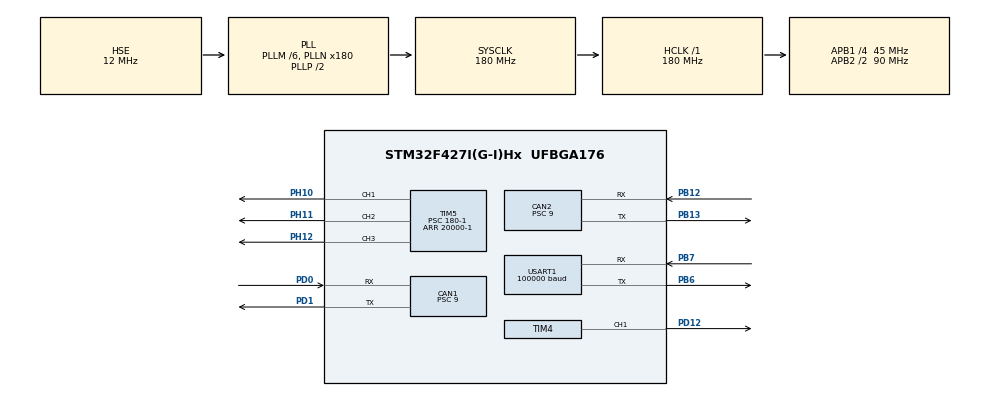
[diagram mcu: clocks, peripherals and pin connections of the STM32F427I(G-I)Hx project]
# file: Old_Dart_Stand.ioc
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CAN1.ABOM=ENABLE
CAN1.BS1=CAN_BS1_2TQ
CAN1.BS2=CAN_BS2_2TQ
CAN1.CalculateBaudRate=1000000
CAN1.CalculateTimeBit=1000
CAN1.CalculateTimeQuantum=200.0
CAN1.NART=ENABLE
CAN1.Prescaler=9
CAN2.ABOM=ENABLE
CAN2.BS1=CAN_BS1_2TQ
CAN2.BS2=CAN_BS2_2TQ
CAN2.CalculateBaudRate=1000000
CAN2.CalculateTimeBit=1000
CAN2.CalculateTimeQuantum=200.0
CAN2.NART=ENABLE
CAN2.Prescaler=9
Dma.Request0=USART1_RX
Dma.USART1_RX.0.Direction=DMA_PERIPH_TO_MEMORY
Dma.USART1_RX.0.FIFOMode=DMA_FIFOMODE_DISABLE
Dma.USART1_RX.0.Instance=DMA2_Stream2
Dma.USART1_RX.0.MemDataAlignment=DMA_MDATAALIGN_BYTE
Dma.USART1_RX.0.MemInc=DMA_MINC_ENABLE
Dma.USART1_RX.0.Mode=DMA_NORMAL
Dma.USART1_RX.0.PeriphDataAlignment=DMA_PDATAALIGN_BYTE
Dma.USART1_RX.0.PeriphInc=DMA_PINC_DISABLE
Dma.USART1_RX.0.Priority=DMA_PRIORITY_LOW
FREERTOS.Tasks01=defaultTask,24,128,StartDefaultTask,Default,NULL,Dynamic,NULL,NULL;DM_Motor_Task,24,128,DM_Motor_TaskStart,As weak,NULL,Dynamic,NULL,NULL;BJ_Task,24,128,Start_BJ_Task,As weak,NULL,Dynamic,NULL,NULL;Motor_return_t0,25,128,Start_Motor_return_t0,As weak,NULL,Dynamic,NULL,NULL;Windmill_4310,24,128,Windmill_4310_Start,As weak,NULL,Dynamic,NULL,NULL;Windmill_2006,25,128,Windmill_2006_Start,As weak,NULL,Dynamic,NULL,NULL
Mcu.Family=STM32F4
Mcu.Name=STM32F427I(G-I)Hx
Mcu.Package=UFBGA176
NVIC.CAN1_RX0_IRQn=true\:5\:0\:false\:false\:true\:true\:true\:true\:true
NVIC.CAN1_RX1_IRQn=true\:5\:0\:false\:false\:true\:true\:true\:true\:true
NVIC.CAN2_RX0_IRQn=true\:5\:0\:false\:false\:true\:true\:true\:true\:true
NVIC.CAN2_RX1_IRQn=true\:5\:0\:false\:false\:true\:true\:true\:true\:true
NVIC.DMA2_Stream2_IRQn=true\:5\:0\:false\:false\:true\:true\:false\:true\:true
NVIC.PriorityGroup=NVIC_PRIORITYGROUP_4
NVIC.TIM8_TRG_COM_TIM14_IRQn=true\:15\:0\:true\:false\:true\:false\:false\:true\:true
NVIC.TimeBase=TIM8_TRG_COM_TIM14_IRQn
NVIC.TimeBaseIP=TIM14
NVIC.USART1_IRQn=true\:5\:0\:false\:false\:true\:true\:true\:true\:true
PA13.Mode=Serial_Wire
PA13.Signal=SYS_JTMS-SWDIO
PA14.Mode=Serial_Wire
PA14.Signal=SYS_JTCK-SWCLK
PB12.Mode=CAN_Activate
PB12.Signal=CAN2_RX
PB13.Mode=CAN_Activate
PB13.Signal=CAN2_TX
PB6.Mode=Asynchronous
PB6.Signal=USART1_TX
PB7.Mode=Asynchronous
PB7.Signal=USART1_RX
PD0.Mode=CAN_Activate
PD0.Signal=CAN1_RX
PD1.Mode=CAN_Activate
PD1.Signal=CAN1_TX
PD12.Signal=S_TIM4_CH1
PH0/OSC_IN.Mode=HSE-External-Oscillator
PH0/OSC_IN.Signal=RCC_OSC_IN
PH1/OSC_OUT.Mode=HSE-External-Oscillator
PH1/OSC_OUT.Signal=RCC_OSC_OUT
PH10.Signal=S_TIM5_CH1
PH11.Signal=S_TIM5_CH2
PH12.Signal=S_TIM5_CH3
ProjectManager.HeapSize=0x200
ProjectManager.StackSize=0x400
ProjectManager.TargetToolchain=CMake
RCC.48MHZClocksFreq_Value=90000000
RCC.AHBFreq_Value=180000000
RCC.APB1CLKDivider=RCC_HCLK_DIV4
RCC.APB1Freq_Value=45000000
RCC.APB1TimFreq_Value=90000000
RCC.APB2CLKDivider=RCC_HCLK_DIV2
RCC.APB2Freq_Value=90000000
RCC.APB2TimFreq_Value=180000000
RCC.CortexFreq_Value=180000000
RCC.HCLKFreq_Value=180000000
RCC.HSE_VALUE=12000000
RCC.HSI_VALUE=16000000
RCC.LSE_VALUE=32768
RCC.PLLM=6
RCC.PLLN=180
RCC.PLLSourceVirtual=RCC_PLLSOURCE_HSE
RCC.SYSCLKFreq_VALUE=180000000
RCC.SYSCLKSource=RCC_SYSCLKSOURCE_PLLCLK
RCC.VCOOutputFreq_Value=360000000
SH.S_TIM4_CH1.0=TIM4_CH1,PWM Generation1 CH1
SH.S_TIM5_CH1.0=TIM5_CH1,PWM Generation1 CH1
SH.S_TIM5_CH2.0=TIM5_CH2,PWM Generation2 CH2
SH.S_TIM5_CH3.0=TIM5_CH3,PWM Generation3 CH3
TIM4.AutoReloadPreload=TIM_AUTORELOAD_PRELOAD_ENABLE
TIM4.Channel-PWM\ Generation1\ CH1=TIM_CHANNEL_1
TIM4.Period=20000-1
TIM4.Prescaler=180-1
TIM5.AutoReloadPreload=TIM_AUTORELOAD_PRELOAD_ENABLE
TIM5.Channel-PWM\ Generation1\ CH1=TIM_CHANNEL_1
TIM5.Channel-PWM\ Generation2\ CH2=TIM_CHANNEL_2
TIM5.Channel-PWM\ Generation3\ CH3=TIM_CHANNEL_3
TIM5.Period=20000-1
TIM5.Prescaler=180-1
USART1.BaudRate=100000
USART1.Parity=PARITY_EVEN
USART1.VirtualMode=VM_ASYNC
USART1.WordLength=WORDLENGTH_9B
VP_FREERTOS_VS_CMSIS_V2.Mode=CMSIS_V2
VP_SYS_VS_tim14.Mode=TIM14
VP_TIM4_VS_ClockSourceINT.Mode=Internal
VP_TIM5_VS_ClockSourceINT.Mode=Internal
board=custom

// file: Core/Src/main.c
/* USER CODE BEGIN Header */
/**
  ******************************************************************************
  * @file           : main.c
  * @brief          : Main program body
  ******************************************************************************
  * @attention
  *
  * Copyright (c) 2026 STMicroelectronics.
  * All rights reserved.
  *
  * This software is licensed under terms that can be found in the LICENSE file
  * in the root directory of this software component.
  * If no LICENSE file comes with this software, it is provided AS-IS.
  *
  ******************************************************************************
  */
/* USER CODE END Header */
#include "main.h"
#include "cmsis_os.h"
#include "can.h"
#include "dma.h"
#include "tim.h"
#include "usart.h"
#include "gpio.h"

/* USER CODE BEGIN Includes */
#include"DM_Motor.h"
#include "drv_can.h"
#include "RC_remoto_control.h"
#include "X_V2.h"
#include "PID.h"
#define PI 3.1415926
/* USER CODE END Includes */

/* USER CODE BEGIN PV */
//遥控器的全局变量(以后优化)
int flag=2;//达妙电机标志位,默认上电不动
RC_Ctl_t RC_CtrlData;
//uint8_t RxData[2][18]={0};//接收遥控器数据的数组，双
uint8_t RxData[18] = {0};//接收遥控器数据的数,单缓冲区
int flag_one_step = 0;//此为全局变量
uint32_t t0 = 0;
uint8_t s2_last = 0;
uint8_t s1_last = 0;
extern PID_Struct DJI_2006_speed;
extern PID_Struct DJI_2006_position;
extern uint8_t Windmill_flag;
/* USER CODE END PV */

void SystemClock_Config(void);
void MX_FREERTOS_Init(void);

/* USER CODE BEGIN 0 */
void RemoteDataProcess(uint8_t *pData)//解析数据
{
  if(pData == NULL)
  {
    return;
  }

  RC_CtrlData.rc.ch0 = ((int16_t)pData[0] | ((int16_t)pData[1] << 8)) & 0x07FF;
  RC_CtrlData.rc.ch1 = (((int16_t)pData[1] >> 3) | ((int16_t)pData[2] << 5))
& 0x07FF;
  RC_CtrlData.rc.ch2 = (((int16_t)pData[2] >> 6) | ((int16_t)pData[3] << 2) |
                       ((int16_t)pData[4] << 10)) & 0x07FF;
  RC_CtrlData.rc.ch3 = (((int16_t)pData[4] >> 1) | ((int16_t)pData[5]<<7)) &
0x07FF;

  RC_CtrlData.rc.s1 = ((pData[5] >> 4) & 0x000C) >> 2;
  RC_CtrlData.rc.s2 = ((pData[5] >> 4) & 0x0003);

  RC_CtrlData.mouse.x = ((int16_t)pData[6]) | ((int16_t)pData[7] << 8);
  RC_CtrlData.mouse.y = ((int16_t)pData[8]) | ((int16_t)pData[9] << 8);
  RC_CtrlData.mouse.z = ((int16_t)pData[10]) | ((int16_t)pData[11] << 8);

  RC_CtrlData.mouse.press_l = pData[12];
  RC_CtrlData.mouse.press_r = pData[13];

  RC_CtrlData.key.v = ((int16_t)pData[14]);// | ((int16_t)pData[15] << 8); ;//上拨最小，下拨最大
  RC_CtrlData.rc.dial = pData[16] | (pData[17] << 8);//上拨最小，下拨最大
  //your control code ….
  if (RC_CtrlData.rc.ch3>1024)//向上拨摇杆，
  {
    flag=1;
  }
  else if (RC_CtrlData.rc.ch3<1024)//向下拨摇杆
  {
    flag=0;
  }
  else
  {
    //do nothing
  }
}
//重写串口空闲中断
void HAL_UARTEx_RxEventCallback(UART_HandleTypeDef *huart, uint16_t Size)
{
  if(huart==&huart1)
  {
    uint8_t*pData=RxData;
    if (Size==18)//判断是否接收的是完整的数据据
    {
      RemoteDataProcess(pData);
    }
    HAL_UARTEx_ReceiveToIdle_DMA(&huart1, RxData, 18);//持续接收数据
    __HAL_DMA_DISABLE_IT(&hdma_usart1_rx,DMA_IT_HT);
  }
  //优化为双缓冲区
   // if (huart == &huart1)
   // {
   //   static uint8_t idx = 0;// 记录"刚刚收完"的是哪块缓冲
   //   uint8_t *done = RxData[idx];     // 刚收满的一帧
   //
   //   idx ^= 1;                        // 切到另一块(0<->1)
   //
   //   HAL_UARTEx_ReceiveToIdle_DMA(&huart1, RxData[idx], 18); // 先武装,让 DMA 去填另一块
   //   __HAL_DMA_DISABLE_IT(&hdma_usart1_rx,DMA_IT_HT);
   //
   //   // 现在解析上一帧,此时 DMA 正在写另一块 → 真正并行,不会互相覆盖
   //   if (Size==18)
   //   {
   //     RemoteDataProcess(done);
   //   }
   // }
}
/* USER CODE END 0 */

int main(void)
{

  /* MCU Configuration--------------------------------------------------------*/

  /* Reset of all peripherals, Initializes the Flash interface and the Systick. */
  HAL_Init();

  /* Configure the system clock */
  SystemClock_Config();

  /* Initialize all configured peripherals */
  MX_GPIO_Init();
  MX_DMA_Init();
  MX_CAN1_Init();
  MX_CAN2_Init();
  MX_TIM4_Init();
  MX_USART1_UART_Init();
  MX_TIM5_Init();
  /* USER CODE BEGIN 2 */
  //舵机初始化代码
  HAL_TIM_PWM_Start(&htim4, TIM_CHANNEL_1);//扳机舵机开启
  HAL_TIM_PWM_Start(&htim5, TIM_CHANNEL_1);//大风车舵机1初始化
  HAL_TIM_PWM_Start(&htim5, TIM_CHANNEL_2);//大风车舵机2初始化
  HAL_TIM_PWM_Start(&htim5, TIM_CHANNEL_3);//大风车舵机3初始化
  //初始化大风车舵机上电实际角度 具体角度看实际来调
  __HAL_TIM_SetCompare(&htim4, TIM_CHANNEL_1,780.0f);//初始未上膛
  __HAL_TIM_SetCompare(&htim5, TIM_CHANNEL_1,320.0f);//初始未上膛//200.0放飞镖 320夹飞镖
  __HAL_TIM_SetCompare(&htim5, TIM_CHANNEL_2,600.0f);//初始未上膛//750放飞镖 600夹紧
  __HAL_TIM_SetCompare(&htim5, TIM_CHANNEL_3,400.0f);//初始未上膛//630放飞镖 400夹紧  //

  //遥控器串口接收代码
  HAL_UARTEx_ReceiveToIdle_DMA(&huart1, RxData, 18);//开启串口
  __HAL_DMA_DISABLE_IT(&hdma_usart1_rx,DMA_IT_HT);//关掉有关DMA的接收一半数据就触发的中断

  CAN_Filter_Mask_Config(&hcan2,CAN_FILTER(16)|CAN_FIFO_1|CAN_STDID|CAN_DATA_TYPE,0x01,0x00);//配置滤波器 接收3519发来的数据
  CAN_Init(&hcan2,User_CANCallback);//初始化CN2 使用达妙电机

  // //步进电机相关代码 并且初始化CAN1
  // USER_CAN1_Filter_Init();																	// 初始化CAN滤波器
  // if(HAL_CAN_Start(&hcan1) != HAL_OK) { Error_Handler(); }	// 启动CAN控制器
  // if(HAL_CAN_ActivateNotification(&hcan1, CAN_IT_RX_FIFO0_MSG_PENDING) != HAL_OK) { Error_Handler(); }	// 使能CAN控制器接收中断
  CAN_Filter_Mask_Config(&hcan1,CAN_FILTER(1)|CAN_FIFO_0|CAN_STDID|CAN_DATA_TYPE,0x41,0x00);//配置滤波器//接收4310发来的数据
  CAN_Filter_Mask_Config(&hcan1,CAN_FILTER(2)|CAN_FIFO_0|CAN_STDID|CAN_DATA_TYPE,0x202,0x00);//配置滤波器//接收4310发来的数据
  CAN_Init(&hcan1,User_CANCallback);//初始化CN2 使用达妙电机

   //初始化4310电机,变成位置模式
   DM_Motor_Init(&hcan1,0x51,POSITION);
   DM_Motor_Setposition(&hcan1,0x51,POSITION,0.0f,10.0f);//先让达妙电机上电回到0点
   HAL_Delay(1200);
   DM_Motor_Setposition(&hcan1,0x51,POSITION,-(PI/3.0f),10.0f);//然后让电机转到60°的位置
   HAL_Delay(500);

  // HAL_Delay(500);//上电500ms等初始化完成
  //  //初始化大疆电机2006
  //  PID_Init(&DJI_2006_speed);
  //  PID_Init(&DJI_2006_position);

  ////X_V2_Reset_CurPos_To_Zero(8);//上电 设置步进电机的当前位置为0点 0点学长已经设置过了
  /* USER CODE END 2 */

  /* Init scheduler */
  osKernelInitialize();  /* Call init function for freertos objects (in cmsis_os2.c) */
  MX_FREERTOS_Init();

  /* Start scheduler */
  osKernelStart();

  /* We should never get here as control is now taken by the scheduler */

  /* Infinite loop */
  while (1)
  {

  }
}

void SystemClock_Config(void)
{
  RCC_OscInitTypeDef RCC_OscInitStruct = {0};
  RCC_ClkInitTypeDef RCC_ClkInitStruct = {0};

  /** Configure the main internal regulator output voltage
  */
  __HAL_RCC_PWR_CLK_ENABLE();
  __HAL_PWR_VOLTAGESCALING_CONFIG(PWR_REGULATOR_VOLTAGE_SCALE1);

  /** Initializes the RCC Oscillators according to the specified parameters
  * in the RCC_OscInitTypeDef structure.
  */
  RCC_OscInitStruct.OscillatorType = RCC_OSCILLATORTYPE_HSE;
  RCC_OscInitStruct.HSEState = RCC_HSE_ON;
  RCC_OscInitStruct.PLL.PLLState = RCC_PLL_ON;
  RCC_OscInitStruct.PLL.PLLSource = RCC_PLLSOURCE_HSE;
  RCC_OscInitStruct.PLL.PLLM = 6;
  RCC_OscInitStruct.PLL.PLLN = 180;
  RCC_OscInitStruct.PLL.PLLP = RCC_PLLP_DIV2;
  RCC_OscInitStruct.PLL.PLLQ = 4;
  if (HAL_RCC_OscConfig(&RCC_OscInitStruct) != HAL_OK)
  {
    Error_Handler();
  }

  /** Activate the Over-Drive mode
  */
  if (HAL_PWREx_EnableOverDrive() != HAL_OK)
  {
    Error_Handler();
  }

  /** Initializes the CPU, AHB and APB buses clocks
  */
  RCC_ClkInitStruct.ClockType = RCC_CLOCKTYPE_HCLK|RCC_CLOCKTYPE_SYSCLK
                              |RCC_CLOCKTYPE_PCLK1|RCC_CLOCKTYPE_PCLK2;
  RCC_ClkInitStruct.SYSCLKSource = RCC_SYSCLKSOURCE_PLLCLK;
  RCC_ClkInitStruct.AHBCLKDivider = RCC_SYSCLK_DIV1;
  RCC_ClkInitStruct.APB1CLKDivider = RCC_HCLK_DIV4;
  RCC_ClkInitStruct.APB2CLKDivider = RCC_HCLK_DIV2;

  if (HAL_RCC_ClockConfig(&RCC_ClkInitStruct, FLASH_LATENCY_5) != HAL_OK)
  {
    Error_Handler();
  }
}

void HAL_TIM_PeriodElapsedCallback(TIM_HandleTypeDef *htim)
{
  if (htim->Instance == TIM14)
  {
    HAL_IncTick();
  }
}

void Error_Handler(void)
{
  __disable_irq();
  while (1)
  {
  }
}

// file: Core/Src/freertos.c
/* USER CODE BEGIN Header */
/**
  ******************************************************************************
  * File Name          : freertos.c
  * Description        : Code for freertos applications
  ******************************************************************************
  * @attention
  *
  * Copyright (c) 2026 STMicroelectronics.
  * All rights reserved.
  *
  * This software is licensed under terms that can be found in the LICENSE file
  * in the root directory of this software component.
  * If no LICENSE file comes with this software, it is provided AS-IS.
  *
  ******************************************************************************
  */
/* USER CODE END Header */

#include "FreeRTOS.h"
#include "task.h"
#include "main.h"
#include "cmsis_os.h"

/* Definitions for defaultTask */
osThreadId_t defaultTaskHandle;
const osThreadAttr_t defaultTask_attributes = {
  .name = "defaultTask",
  .stack_size = 128 * 4,
  .priority = (osPriority_t) osPriorityNormal,
};
/* Definitions for DM_Motor_Task */
osThreadId_t DM_Motor_TaskHandle;
const osThreadAttr_t DM_Motor_Task_attributes = {
  .name = "DM_Motor_Task",
  .stack_size = 128 * 4,
  .priority = (osPriority_t) osPriorityNormal,
};
/* Definitions for BJ_Task */
osThreadId_t BJ_TaskHandle;
const osThreadAttr_t BJ_Task_attributes = {
  .name = "BJ_Task",
  .stack_size = 128 * 4,
  .priority = (osPriority_t) osPriorityNormal,
};
/* Definitions for Motor_return_t0 */
osThreadId_t Motor_return_t0Handle;
const osThreadAttr_t Motor_return_t0_attributes = {
  .name = "Motor_return_t0",
  .stack_size = 128 * 4,
  .priority = (osPriority_t) osPriorityNormal1,
};
/* Definitions for Windmill_4310 */
osThreadId_t Windmill_4310Handle;
const osThreadAttr_t Windmill_4310_attributes = {
  .name = "Windmill_4310",
  .stack_size = 128 * 4,
  .priority = (osPriority_t) osPriorityNormal,
};
/* Definitions for Windmill_2006 */
osThreadId_t Windmill_2006Handle;
const osThreadAttr_t Windmill_2006_attributes = {
  .name = "Windmill_2006",
  .stack_size = 128 * 4,
  .priority = (osPriority_t) osPriorityNormal1,
};

void StartDefaultTask(void *argument);
void DM_Motor_TaskStart(void *argument);
void Start_BJ_Task(void *argument);
void Start_Motor_return_t0(void *argument);
void Windmill_4310_Start(void *argument);
void Windmill_2006_Start(void *argument);

void MX_FREERTOS_Init(void); /* (MISRA C 2004 rule 8.1) */

void MX_FREERTOS_Init(void) {

  /* Create the thread(s) */
  /* creation of defaultTask */
  defaultTaskHandle = osThreadNew(StartDefaultTask, NULL, &defaultTask_attributes);

  /* creation of DM_Motor_Task */
  DM_Motor_TaskHandle = osThreadNew(DM_Motor_TaskStart, NULL, &DM_Motor_Task_attributes);

  /* creation of BJ_Task */
  BJ_TaskHandle = osThreadNew(Start_BJ_Task, NULL, &BJ_Task_attributes);

  /* creation of Motor_return_t0 */
  Motor_return_t0Handle = osThreadNew(Start_Motor_return_t0, NULL, &Motor_return_t0_attributes);

  /* creation of Windmill_4310 */
  Windmill_4310Handle = osThreadNew(Windmill_4310_Start, NULL, &Windmill_4310_attributes);

  /* creation of Windmill_2006 */
  Windmill_2006Handle = osThreadNew(Windmill_2006_Start, NULL, &Windmill_2006_attributes);

}

void StartDefaultTask(void *argument)
{
  for(;;)
  {
    osDelay(1);
  }
}

__weak void DM_Motor_TaskStart(void *argument)
{
  for(;;)
  {
    osDelay(1);
  }
}

__weak void Start_BJ_Task(void *argument)
{
  for(;;)
  {
    osDelay(1);
  }
}

__weak void Start_Motor_return_t0(void *argument)
{
  for(;;)
  {
    osDelay(1);
  }
}

__weak void Windmill_4310_Start(void *argument)
{
  for(;;)
  {
    osDelay(1);
  }
}

__weak void Windmill_2006_Start(void *argument)
{
  for(;;)
  {
    osDelay(1);
  }
}
